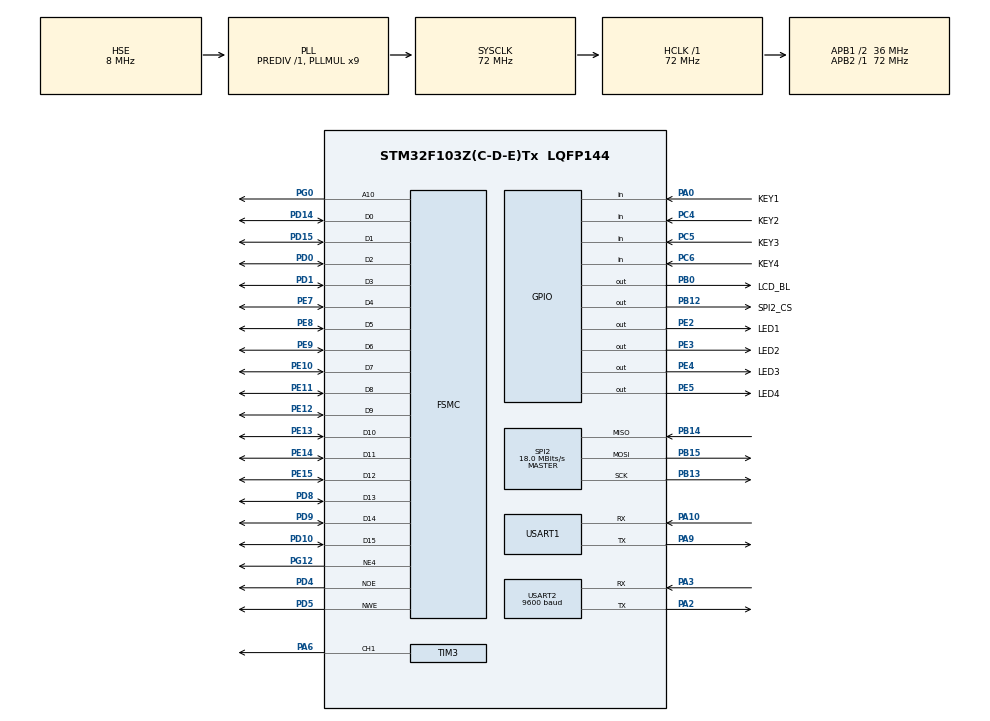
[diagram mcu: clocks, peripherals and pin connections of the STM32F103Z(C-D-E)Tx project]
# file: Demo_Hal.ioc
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FREERTOS.Tasks01=defaultTask,24,128,StartDefaultTask,Default,NULL,Dynamic,NULL,NULL;myTask02,8,128,StartTask02,Default,NULL,Dynamic,NULL,NULL;myTask03,9,128,StartTask03,Default,NULL,Dynamic,NULL,NULL
FSMC.AddressSetupTime4=0
FSMC.BusTurnAroundDuration4=0
FSMC.DataSetupTime4=3
FSMC.ExtendedMode4=FSMC_EXTENDED_MODE_DISABLE
Mcu.Family=STM32F1
Mcu.Name=STM32F103Z(C-D-E)Tx
Mcu.Package=LQFP144
NVIC.PriorityGroup=NVIC_PRIORITYGROUP_4
NVIC.TIM6_IRQn=true\:5\:0\:false\:false\:true\:true\:true\:true\:true
NVIC.TIM7_IRQn=true\:15\:0\:false\:false\:true\:false\:false\:true\:true
NVIC.TimeBase=TIM7_IRQn
NVIC.TimeBaseIP=TIM7
NVIC.USART1_IRQn=true\:5\:0\:true\:false\:true\:true\:true\:true\:true
NVIC.USART2_IRQn=true\:5\:0\:false\:false\:true\:true\:true\:true\:true
OSC_IN.Mode=HSE-External-Oscillator
OSC_IN.Signal=RCC_OSC_IN
OSC_OUT.Mode=HSE-External-Oscillator
OSC_OUT.Signal=RCC_OSC_OUT
PA0-WKUP.GPIO_Label=KEY1
PA0-WKUP.Signal=GPIO_Input
PA10.Mode=Asynchronous
PA10.Signal=USART1_RX
PA13.Mode=Serial_Wire
PA13.Signal=SYS_JTMS-SWDIO
PA14.Mode=Serial_Wire
PA14.Signal=SYS_JTCK-SWCLK
PA2.Mode=Asynchronous
PA2.Signal=USART2_TX
PA3.Mode=Asynchronous
PA3.Signal=USART2_RX
PA6.Signal=S_TIM3_CH1
PA9.Mode=Asynchronous
PA9.Signal=USART1_TX
PB0.GPIO_Label=LCD_BL
PB0.Signal=GPIO_Output
PB12.GPIO_Label=SPI2_CS
PB12.GPIO_Speed=GPIO_SPEED_FREQ_HIGH
PB12.PinState=GPIO_PIN_SET
PB12.Signal=GPIO_Output
PB13.Mode=Full_Duplex_Master
PB13.Signal=SPI2_SCK
PB14.Mode=Full_Duplex_Master
PB14.Signal=SPI2_MISO
PB15.Mode=Full_Duplex_Master
PB15.Signal=SPI2_MOSI
PC14-OSC32_IN.Mode=LSE-External-Oscillator
PC14-OSC32_IN.Signal=RCC_OSC32_IN
PC15-OSC32_OUT.Mode=LSE-External-Oscillator
PC15-OSC32_OUT.Signal=RCC_OSC32_OUT
PC4.GPIO_Label=KEY2
PC4.Signal=GPIO_Input
PC5.GPIO_Label=KEY3
PC5.Signal=GPIO_Input
PC6.GPIO_Label=KEY4
PC6.Signal=GPIO_Input
PD0.Signal=FSMC_D2_DA2
PD1.Signal=FSMC_D3_DA3
PD10.Signal=FSMC_D15_DA15
PD14.Signal=FSMC_D0_DA0
PD15.Signal=FSMC_D1_DA1
PD4.Signal=FSMC_NOE
PD5.Signal=FSMC_NWE
PD8.Signal=FSMC_D13_DA13
PD9.Signal=FSMC_D14_DA14
PE10.Signal=FSMC_D7_DA7
PE11.Signal=FSMC_D8_DA8
PE12.Signal=FSMC_D9_DA9
PE13.Signal=FSMC_D10_DA10
PE14.Signal=FSMC_D11_DA11
PE15.Signal=FSMC_D12_DA12
PE2.GPIO_Label=LED1
PE2.PinState=GPIO_PIN_SET
PE2.Signal=GPIO_Output
PE3.GPIO_Label=LED2
PE3.PinState=GPIO_PIN_SET
PE3.Signal=GPIO_Output
PE4.GPIO_Label=LED3
PE4.PinState=GPIO_PIN_SET
PE4.Signal=GPIO_Output
PE5.GPIO_Label=LED4
PE5.PinState=GPIO_PIN_SET
PE5.Signal=GPIO_Output
PE7.Signal=FSMC_D4_DA4
PE8.Signal=FSMC_D5_DA5
PE9.Signal=FSMC_D6_DA6
PG0.Signal=FSMC_A10
PG12.Mode=NorPsramChipSelect4_4
PG12.Signal=FSMC_NE4
ProjectManager.HeapSize=0x200
ProjectManager.StackSize=0x400
ProjectManager.TargetToolchain=MDK-ARM V5.32
RCC.AHBFreq_Value=72000000
RCC.APB1CLKDivider=RCC_HCLK_DIV2
RCC.APB1Freq_Value=36000000
RCC.APB1TimFreq_Value=72000000
RCC.APB2Freq_Value=72000000
RCC.APB2TimFreq_Value=72000000
RCC.HCLKFreq_Value=72000000
RCC.PLLMUL=RCC_PLL_MUL9
RCC.PLLSourceVirtual=RCC_PLLSOURCE_HSE
RCC.SYSCLKFreq_VALUE=72000000
RCC.SYSCLKSource=RCC_SYSCLKSOURCE_PLLCLK
RCC.USBFreq_Value=72000000
SH.FSMC_A10.0=FSMC_A10,A10_4
SH.FSMC_D0_DA0.0=FSMC_D0,16b-d4
SH.FSMC_D10_DA10.0=FSMC_D10,16b-d4
SH.FSMC_D11_DA11.0=FSMC_D11,16b-d4
SH.FSMC_D12_DA12.0=FSMC_D12,16b-d4
SH.FSMC_D13_DA13.0=FSMC_D13,16b-d4
SH.FSMC_D14_DA14.0=FSMC_D14,16b-d4
SH.FSMC_D15_DA15.0=FSMC_D15,16b-d4
SH.FSMC_D1_DA1.0=FSMC_D1,16b-d4
SH.FSMC_D2_DA2.0=FSMC_D2,16b-d4
SH.FSMC_D3_DA3.0=FSMC_D3,16b-d4
SH.FSMC_D4_DA4.0=FSMC_D4,16b-d4
SH.FSMC_D5_DA5.0=FSMC_D5,16b-d4
SH.FSMC_D6_DA6.0=FSMC_D6,16b-d4
SH.FSMC_D7_DA7.0=FSMC_D7,16b-d4
SH.FSMC_D8_DA8.0=FSMC_D8,16b-d4
SH.FSMC_D9_DA9.0=FSMC_D9,16b-d4
SH.FSMC_NOE.0=FSMC_NOE,Lcd4
SH.FSMC_NWE.0=FSMC_NWE,Lcd4
SH.S_TIM3_CH1.0=TIM3_CH1,PWM Generation1 CH1
SPI2.CLKPhase=SPI_PHASE_2EDGE
SPI2.CLKPolarity=SPI_POLARITY_HIGH
SPI2.CalculateBaudRate=18.0 MBits/s
SPI2.Direction=SPI_DIRECTION_2LINES
SPI2.Mode=SPI_MODE_MASTER
SPI2.VirtualType=VM_MASTER
TIM3.Channel-PWM\ Generation1\ CH1=TIM_CHANNEL_1
TIM6.Period=144-1
TIM6.Prescaler=1000-1
USART1.VirtualMode=VM_ASYNC
USART2.BaudRate=9600
USART2.VirtualMode=VM_ASYNC
VP_FREERTOS_VS_CMSIS_V2.Mode=CMSIS_V2
VP_SYS_VS_tim7.Mode=TIM7
VP_TIM3_VS_ClockSourceINT.Mode=Internal
VP_TIM6_VS_ClockSourceINT.Mode=Enable_Timer
board=custom

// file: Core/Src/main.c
/* USER CODE BEGIN Header */
/**
  ******************************************************************************
  * @file           : main.c
  * @brief          : Main program body
  ******************************************************************************
  * @attention
  *
  * Copyright (c) 2025 STMicroelectronics.
  * All rights reserved.
  *
  * This software is licensed under terms that can be found in the LICENSE file
  * in the root directory of this software component.
  * If no LICENSE file comes with this software, it is provided AS-IS.
  *
  ******************************************************************************
  */
/* USER CODE END Header */
#include "main.h"
#include "cmsis_os.h"
#include "spi.h"
#include "tim.h"
#include "usart.h"
#include "gpio.h"
#include "fsmc.h"

void SystemClock_Config(void);
void MX_FREERTOS_Init(void);

int main(void)
{

  /* MCU Configuration--------------------------------------------------------*/

  /* Reset of all peripherals, Initializes the Flash interface and the Systick. */
  HAL_Init();

  /* Configure the system clock */
  SystemClock_Config();

  /* Initialize all configured peripherals */
  MX_GPIO_Init();
  MX_USART1_UART_Init();
  MX_TIM6_Init();
  MX_SPI2_Init();
  MX_FSMC_Init();
  MX_USART2_UART_Init();
  MX_TIM3_Init();
  /* USER CODE BEGIN 2 */
#if (UART1_TYPE==0)
		//HAL_StatusTypeDef HAL_UART_Receive_IT(UART_HandleTypeDef *huart, uint8_t *pData, uint16_t Size);
		//参数1   串口的句柄，也就是串口几
	  //参数2   接收数据存放的地址
	  //参数3   待接收的长度    接收后该参数长度，就会触发回调函数  HAL_UART_RxCpltCallback
    HAL_UART_Receive_IT(&huart1,&U1_Rec_Single,1);
#elif (UART1_TYPE==1)
	  //参数1   串口的句柄，也就是串口几
	  //参数2   接收数据存放的地址
	  //参数3   待接收的长度    接收后该参数长度，就会触发回调函数  HAL_UART_RxCpltCallback
    HAL_UART_Receive_IT(&huart1,U1_Rec_Buff,8);
    #elif (UART1_TYPE==2)
    //HAL_StatusTypeDef HAL_UARTEx_ReceiveToIdle_IT(UART_HandleTypeDef *huart, uint8_t *pData, uint16_t Size);
	 //参数1   串口的句柄，也就是串口几
	 //参数2   接收数据存放的地址
	 //参数3   缓冲区可以接收的最大长度    触发回调函数  HAL_UARTEx_RxEventCallback
	 //触发的条件  1.总线空闲了，触发空闲回调   2.接收够了缓冲区的最大长度，触发空闲回调
   HAL_UARTEx_ReceiveToIdle_IT(&huart1,U1_Rec_Buff,sizeof(U1_Rec_Buff));
#endif
#if (UART2_TYPE==0)
		//HAL_StatusTypeDef HAL_UART_Receive_IT(UART_HandleTypeDef *huart, uint8_t *pData, uint16_t Size);
		//参数1   串口的句柄，也就是串口几
	  //参数2   接收数据存放的地址
	  //参数3   待接收的长度    接收后该参数长度，就会触发回调函数  HAL_UART_RxCpltCallback
    HAL_UART_Receive_IT(&huart2,&U2_Rec_Single,1);
#elif (UART2_TYPE==1)
	  //参数1   串口的句柄，也就是串口几
	  //参数2   接收数据存放的地址
	  //参数3   待接收的长度    接收后该参数长度，就会触发回调函数  HAL_UART_RxCpltCallback
    HAL_UART_Receive_IT(&huart2,kqm.R_BUFF,8);
    #elif (UART2_TYPE==2)
    //HAL_StatusTypeDef HAL_UARTEx_ReceiveToIdle_IT(UART_HandleTypeDef *huart, uint8_t *pData, uint16_t Size);
	 //参数1   串口的句柄，也就是串口几
	 //参数2   接收数据存放的地址
	 //参数3   缓冲区可以接收的最大长度    触发回调函数  HAL_UARTEx_RxEventCallback
	 //触发的条件  1.总线空闲了，触发空闲回调   2.接收够了缓冲区的最大长度，触发空闲回调
   HAL_UARTEx_ReceiveToIdle_IT(&huart2,kqm.R_BUFF,sizeof(kqm.R_BUFF));
 #elif (UART2_TYPE==3)
 HAL_UART_Receive_IT(&huart2,&U2_Rec_Single,1);
#endif
//   W25Q64_ReadID_0x90();
//	 W25Q64_ReadID_0x9F();
		LCD_Init();
		LCD_Clear(RED);
  /* USER CODE END 2 */

  /* Init scheduler */
  osKernelInitialize();  /* Call init function for freertos objects (in freertos.c) */
  MX_FREERTOS_Init();

  /* Start scheduler */
  osKernelStart();
  /* We should never get here as control is now taken by the scheduler */
  /* Infinite loop */
  /* USER CODE BEGIN WHILE */
  while (1)
  {
//		HAL_GPIO_TogglePin(GPIOE, LED1_Pin|LED2_Pin|LED3_Pin|LED4_Pin);
//    HAL_Delay(1000);
//		if(KEY_Period[0]>=KEY_Period[1])
//		{
//			KEY_Period[0]=0;
//			Key_Handle();
//		}
    KQM_Handle();
		HAL_Delay(1000);
    /* USER CODE END WHILE */

  }
}

void SystemClock_Config(void)
{
  RCC_OscInitTypeDef RCC_OscInitStruct = {0};
  RCC_ClkInitTypeDef RCC_ClkInitStruct = {0};

  /** Initializes the RCC Oscillators according to the specified parameters
  * in the RCC_OscInitTypeDef structure.
  */
  RCC_OscInitStruct.OscillatorType = RCC_OSCILLATORTYPE_HSE;
  RCC_OscInitStruct.HSEState = RCC_HSE_ON;
  RCC_OscInitStruct.HSEPredivValue = RCC_HSE_PREDIV_DIV1;
  RCC_OscInitStruct.HSIState = RCC_HSI_ON;
  RCC_OscInitStruct.PLL.PLLState = RCC_PLL_ON;
  RCC_OscInitStruct.PLL.PLLSource = RCC_PLLSOURCE_HSE;
  RCC_OscInitStruct.PLL.PLLMUL = RCC_PLL_MUL9;
  if (HAL_RCC_OscConfig(&RCC_OscInitStruct) != HAL_OK)
  {
    Error_Handler();
  }

  /** Initializes the CPU, AHB and APB buses clocks
  */
  RCC_ClkInitStruct.ClockType = RCC_CLOCKTYPE_HCLK|RCC_CLOCKTYPE_SYSCLK
                              |RCC_CLOCKTYPE_PCLK1|RCC_CLOCKTYPE_PCLK2;
  RCC_ClkInitStruct.SYSCLKSource = RCC_SYSCLKSOURCE_PLLCLK;
  RCC_ClkInitStruct.AHBCLKDivider = RCC_SYSCLK_DIV1;
  RCC_ClkInitStruct.APB1CLKDivider = RCC_HCLK_DIV2;
  RCC_ClkInitStruct.APB2CLKDivider = RCC_HCLK_DIV1;

  if (HAL_RCC_ClockConfig(&RCC_ClkInitStruct, FLASH_LATENCY_2) != HAL_OK)
  {
    Error_Handler();
  }
}

void HAL_TIM_PeriodElapsedCallback(TIM_HandleTypeDef *htim)
{
  /* USER CODE BEGIN Callback 0 */
	if(htim->Instance == TIM6)
	{
		kqm.R_Idle=1; //空闲中断标志位置 1
		HAL_TIM_Base_Stop_IT(&htim6);
	}
  /* USER CODE END Callback 0 */
  if (htim->Instance == TIM7) {
    HAL_IncTick();
  }
}

void Error_Handler(void)
{
  __disable_irq();
  while (1)
  {
  }
}

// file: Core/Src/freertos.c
/* USER CODE BEGIN Header */
/**
  ******************************************************************************
  * File Name          : freertos.c
  * Description        : Code for freertos applications
  ******************************************************************************
  * @attention
  *
  * Copyright (c) 2025 STMicroelectronics.
  * All rights reserved.
  *
  * This software is licensed under terms that can be found in the LICENSE file
  * in the root directory of this software component.
  * If no LICENSE file comes with this software, it is provided AS-IS.
  *
  ******************************************************************************
  */
/* USER CODE END Header */

#include "FreeRTOS.h"
#include "task.h"
#include "main.h"
#include "cmsis_os.h"

/* Definitions for defaultTask */
osThreadId_t defaultTaskHandle;
const osThreadAttr_t defaultTask_attributes = {
  .name = "defaultTask",
  .stack_size = 128 * 4,
  .priority = (osPriority_t) osPriorityNormal,
};
/* Definitions for myTask02 */
osThreadId_t myTask02Handle;
const osThreadAttr_t myTask02_attributes = {
  .name = "myTask02",
  .stack_size = 128 * 4,
  .priority = (osPriority_t) osPriorityLow,
};
/* Definitions for myTask03 */
osThreadId_t myTask03Handle;
const osThreadAttr_t myTask03_attributes = {
  .name = "myTask03",
  .stack_size = 128 * 4,
  .priority = (osPriority_t) osPriorityLow1,
};

void StartDefaultTask(void *argument);
void StartTask02(void *argument);
void StartTask03(void *argument);

void MX_FREERTOS_Init(void); /* (MISRA C 2004 rule 8.1) */

void MX_FREERTOS_Init(void) {

  /* Create the thread(s) */
  /* creation of defaultTask */
  defaultTaskHandle = osThreadNew(StartDefaultTask, NULL, &defaultTask_attributes);

  /* creation of myTask02 */
  myTask02Handle = osThreadNew(StartTask02, NULL, &myTask02_attributes);

  /* creation of myTask03 */
  myTask03Handle = osThreadNew(StartTask03, NULL, &myTask03_attributes);

}

void StartDefaultTask(void *argument)
{
  for(;;)
  {
    osDelay(1);
  }
}

void StartTask02(void *argument)
{
  for(;;)
  {
    osDelay(1);
  }
}

void StartTask03(void *argument)
{
  /* USER CODE BEGIN StartTask03 */
  /* Infinite loop */
  for(;;)
  {
		KQM_Handle();
    osDelay(10);
  }
  /* USER CODE END StartTask03 */
}
